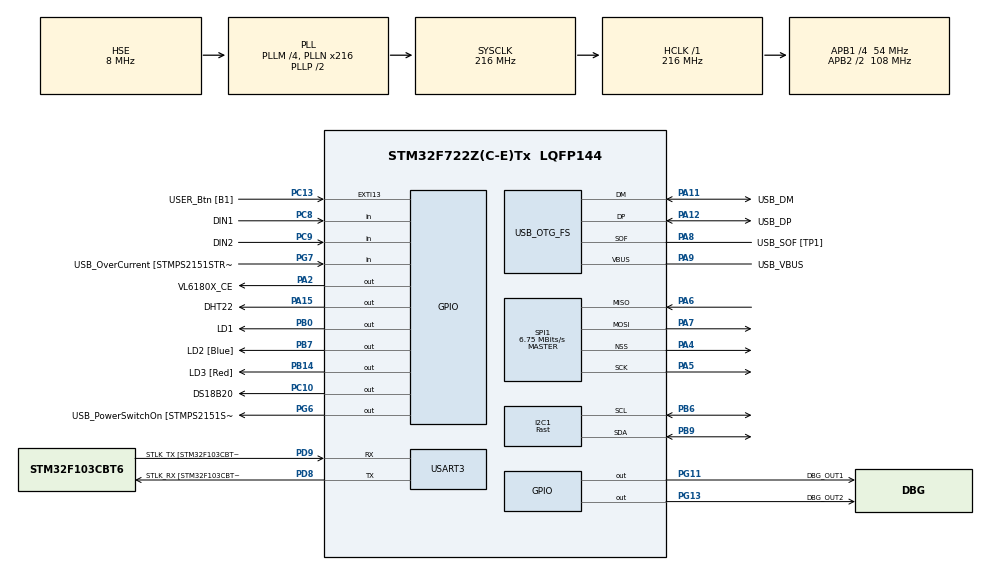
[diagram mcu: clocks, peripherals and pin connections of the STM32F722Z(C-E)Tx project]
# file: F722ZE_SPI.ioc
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I2C1.I2C_Speed_Mode=I2C_Fast
I2C1.Timing=0x6000030D
Mcu.Family=STM32F7
Mcu.Name=STM32F722Z(C-E)Tx
Mcu.Package=LQFP144
NVIC.PriorityGroup=NVIC_PRIORITYGROUP_4
NVIC.USART3_IRQn=true\:0\:0\:false\:false\:true\:true\:true
PA10.GPIO_Label=USB_ID
PA10.Signal=USB_OTG_FS_ID
PA11.GPIO_Label=USB_DM
PA11.Mode=Device_Only
PA11.Signal=USB_OTG_FS_DM
PA12.GPIO_Label=USB_DP
PA12.Mode=Device_Only
PA12.Signal=USB_OTG_FS_DP
PA13.GPIO_Label=TMS
PA13.Mode=Trace_Asynchronous_SW
PA13.Signal=SYS_JTMS-SWDIO
PA14.GPIO_Label=TCK
PA14.Mode=Trace_Asynchronous_SW
PA14.Signal=SYS_JTCK-SWCLK
PA15.GPIO_Label=DHT22
PA15.GPIO_ModeDefaultOutputPP=GPIO_MODE_OUTPUT_OD
PA15.GPIO_PuPd=GPIO_PULLUP
PA15.GPIO_Speed=GPIO_SPEED_FREQ_VERY_HIGH
PA15.Signal=GPIO_Output
PA2.GPIO_Label=VL6180X_CE
PA2.Signal=GPIO_Output
PA4.Mode=NSS_Signal_Hard_Output
PA4.Signal=SPI1_NSS
PA5.Mode=Full_Duplex_Master
PA5.Signal=SPI1_SCK
PA6.Mode=Full_Duplex_Master
PA6.Signal=SPI1_MISO
PA7.Mode=Full_Duplex_Master
PA7.Signal=SPI1_MOSI
PA8.GPIO_Label=USB_SOF [TP1]
PA8.Mode=Activate_SOF_FS
PA8.Signal=USB_OTG_FS_SOF
PA9.GPIO_Label=USB_VBUS
PA9.Mode=Activate_VBUS
PA9.Signal=USB_OTG_FS_VBUS
PB0.GPIO_Label=LD1
PB0.Signal=GPIO_Output
PB14.GPIO_Label=LD3 [Red]
PB14.Signal=GPIO_Output
PB3.GPIO_Label=SWO
PB3.Mode=Trace_Asynchronous_SW
PB3.Signal=SYS_JTDO-SWO
PB6.Mode=I2C
PB6.Signal=I2C1_SCL
PB7.GPIO_Label=LD2 [Blue]
PB7.Signal=GPIO_Output
PB9.Mode=I2C
PB9.Signal=I2C1_SDA
PC10.GPIO_Label=DS18B20
PC10.GPIO_PuPd=GPIO_PULLUP
PC10.GPIO_Speed=GPIO_SPEED_FREQ_VERY_HIGH
PC10.PinState=GPIO_PIN_SET
PC10.Signal=GPIO_Output
PC13.GPIO_Label=USER_Btn [B1]
PC13.Signal=GPXTI13
PC14-OSC32_IN.Mode=LSE-External-Oscillator
PC14-OSC32_IN.Signal=RCC_OSC32_IN
PC15-OSC32_OUT.Mode=LSE-External-Oscillator
PC15-OSC32_OUT.Signal=RCC_OSC32_OUT
PC8.GPIO_Label=DIN1
PC8.Signal=GPIO_Input
PC9.GPIO_Label=DIN2
PC9.Signal=GPIO_Input
PD8.GPIO_Label=STLK_RX [STM32F103CBT6_PA3]
PD8.Mode=Asynchronous
PD8.Signal=USART3_TX
PD9.GPIO_Label=STLK_TX [STM32F103CBT6_PA2]
PD9.Mode=Asynchronous
PD9.Signal=USART3_RX
PG11.GPIO_Label=DBG_OUT1
PG11.Signal=GPIO_Output
PG13.GPIO_Label=DBG_OUT2
PG13.Signal=GPIO_Output
PG6.GPIO_Label=USB_PowerSwitchOn [STMPS2151STR_EN]
PG6.Signal=GPIO_Output
PG7.GPIO_Label=USB_OverCurrent [STMPS2151STR_FAULT]
PG7.Signal=GPIO_Input
PH0-OSC_IN.GPIO_Label=MCO
PH0-OSC_IN.Mode=HSE-External-Clock-Source
PH0-OSC_IN.Signal=RCC_OSC_IN
PH1-OSC_OUT.Mode=HSE-External-Clock-Source
PH1-OSC_OUT.Signal=RCC_OSC_OUT
ProjectManager.HeapSize=0x200
ProjectManager.StackSize=0x400
ProjectManager.TargetToolchain=STM32CubeIDE
RCC.48MHZClocksFreq_Value=24000000
RCC.AHBFreq_Value=216000000
RCC.APB1CLKDivider=RCC_HCLK_DIV4
RCC.APB1Freq_Value=54000000
RCC.APB1TimFreq_Value=108000000
RCC.APB2CLKDivider=RCC_HCLK_DIV2
RCC.APB2Freq_Value=108000000
RCC.APB2TimFreq_Value=216000000
RCC.CortexFreq_Value=216000000
RCC.HCLKFreq_Value=216000000
RCC.HSE_VALUE=8000000
RCC.HSI_VALUE=16000000
RCC.PLLM=4
RCC.PLLMUL=RCC_PLL_MUL9
RCC.PLLN=216
RCC.PLLQ=9
RCC.PRESCALERUSB=RCC_USBCLKSOURCE_PLL_DIV1_5
RCC.SYSCLKFreq_VALUE=216000000
RCC.SYSCLKSource=RCC_SYSCLKSOURCE_PLLCLK
RCC.SYSCLKSourceVirtual=RCC_SYSCLKSOURCE_PLLCLK
RCC.USBFreq_Value=48000000
RCC.VCOOutputFreq_Value=432000000
SPI1.BaudRatePrescaler=SPI_BAUDRATEPRESCALER_16
SPI1.CLKPhase=SPI_PHASE_2EDGE
SPI1.CLKPolarity=SPI_POLARITY_HIGH
SPI1.CRCCalculation=SPI_CRCCALCULATION_DISABLE
SPI1.CalculateBaudRate=6.75 MBits/s
SPI1.DataSize=SPI_DATASIZE_8BIT
SPI1.Direction=SPI_DIRECTION_2LINES
SPI1.Mode=SPI_MODE_MASTER
SPI1.VirtualNSS=VM_NSSHARD
SPI1.VirtualType=VM_MASTER
TIM2.AutoReloadPreload=TIM_AUTORELOAD_PRELOAD_ENABLE
TIM2.Period=4294967294
USART3.VirtualMode-Asynchronous=VM_ASYNC
USB_OTG_FS.VirtualMode=Device_Only
VP_TIM2_VS_ClockSourceINT.Mode=Internal
board=NUCLEO-F722ZE

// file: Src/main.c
/* USER CODE BEGIN Header */
/**
  ******************************************************************************
  * @file           : main.c
  * @brief          : Main program body
  ******************************************************************************
  * @attention
  *
  * <h2><center>&copy; Copyright (c) 2021 STMicroelectronics.
  * All rights reserved.</center></h2>
  *
  * This software component is licensed by ST under BSD 3-Clause license,
  * the "License"; You may not use this file except in compliance with the
  * License. You may obtain a copy of the License at:
  *                        opensource.org/licenses/BSD-3-Clause
  *
  ******************************************************************************
  */
/* USER CODE END Header */
#include "main.h"
#include "i2c.h"
#include "spi.h"
#include "tim.h"
#include "usart.h"
#include "usb_otg.h"
#include "gpio.h"

/* USER CODE BEGIN Includes */
#include <stdio.h>
#include "fw_app.h"
/* USER CODE END Includes */

/* USER CODE BEGIN PV */
static uint8_t      _temp = 0;
static uint8_t      _ch;
static fl_status_t  _ret;
/* USER CODE END PV */

void SystemClock_Config(void);

int main(void)
{
  /* USER CODE BEGIN 1 */
  fw_app_init();
  /* USER CODE END 1 */

  /* MCU Configuration--------------------------------------------------------*/

  /* Reset of all peripherals, Initializes the Flash interface and the Systick. */
  HAL_Init();

  /* Configure the system clock */
  SystemClock_Config();

  /* Initialize all configured peripherals */
  MX_GPIO_Init();
  MX_USART3_UART_Init();
  MX_USB_OTG_FS_PCD_Init();
  MX_TIM2_Init();
  MX_I2C1_Init();
  MX_SPI1_Init();
  /* USER CODE BEGIN 2 */
  fw_app_hw_init();

  printf("Init done.\r\n");
  /* USER CODE END 2 */

  /* Infinite loop */
  /* USER CODE BEGIN WHILE */
  while (1)
  {
    _temp = fl_q_count(&g_app.proto_mgr.q);
    if (_temp > 0)
    {
      for (int i = 0; i < _temp; i++)
      {
        fl_q_pop(&g_app.proto_mgr.q, &_ch);
        _ret = fl_txt_msg_parser_parse_command(&g_app.proto_mgr.parser_handle, _ch, NULL);
      }
    }
    /* USER CODE END WHILE */

  }
}

void SystemClock_Config(void)
{
  RCC_OscInitTypeDef RCC_OscInitStruct = {0};
  RCC_ClkInitTypeDef RCC_ClkInitStruct = {0};
  RCC_PeriphCLKInitTypeDef PeriphClkInitStruct = {0};

  /** Configure LSE Drive Capability
  */
  HAL_PWR_EnableBkUpAccess();
  /** Configure the main internal regulator output voltage
  */
  __HAL_RCC_PWR_CLK_ENABLE();
  __HAL_PWR_VOLTAGESCALING_CONFIG(PWR_REGULATOR_VOLTAGE_SCALE1);
  /** Initializes the RCC Oscillators according to the specified parameters
  * in the RCC_OscInitTypeDef structure.
  */
  RCC_OscInitStruct.OscillatorType = RCC_OSCILLATORTYPE_HSE;
  RCC_OscInitStruct.HSEState = RCC_HSE_BYPASS;
  RCC_OscInitStruct.PLL.PLLState = RCC_PLL_ON;
  RCC_OscInitStruct.PLL.PLLSource = RCC_PLLSOURCE_HSE;
  RCC_OscInitStruct.PLL.PLLM = 4;
  RCC_OscInitStruct.PLL.PLLN = 216;
  RCC_OscInitStruct.PLL.PLLP = RCC_PLLP_DIV2;
  RCC_OscInitStruct.PLL.PLLQ = 9;
  if (HAL_RCC_OscConfig(&RCC_OscInitStruct) != HAL_OK)
  {
    Error_Handler();
  }
  /** Activate the Over-Drive mode
  */
  if (HAL_PWREx_EnableOverDrive() != HAL_OK)
  {
    Error_Handler();
  }
  /** Initializes the CPU, AHB and APB buses clocks
  */
  RCC_ClkInitStruct.ClockType = RCC_CLOCKTYPE_HCLK|RCC_CLOCKTYPE_SYSCLK
                              |RCC_CLOCKTYPE_PCLK1|RCC_CLOCKTYPE_PCLK2;
  RCC_ClkInitStruct.SYSCLKSource = RCC_SYSCLKSOURCE_PLLCLK;
  RCC_ClkInitStruct.AHBCLKDivider = RCC_SYSCLK_DIV1;
  RCC_ClkInitStruct.APB1CLKDivider = RCC_HCLK_DIV4;
  RCC_ClkInitStruct.APB2CLKDivider = RCC_HCLK_DIV2;

  if (HAL_RCC_ClockConfig(&RCC_ClkInitStruct, FLASH_LATENCY_7) != HAL_OK)
  {
    Error_Handler();
  }
  PeriphClkInitStruct.PeriphClockSelection = RCC_PERIPHCLK_USART3|RCC_PERIPHCLK_I2C1
                              |RCC_PERIPHCLK_CLK48;
  PeriphClkInitStruct.Usart3ClockSelection = RCC_USART3CLKSOURCE_PCLK1;
  PeriphClkInitStruct.I2c1ClockSelection = RCC_I2C1CLKSOURCE_PCLK1;
  PeriphClkInitStruct.Clk48ClockSelection = RCC_CLK48SOURCE_PLL;
  if (HAL_RCCEx_PeriphCLKConfig(&PeriphClkInitStruct) != HAL_OK)
  {
    Error_Handler();
  }
}

/* USER CODE BEGIN 4 */
void HAL_UART_RxCpltCallback(UART_HandleTypeDef *huart)
{
  if (huart == g_app.proto_mgr.uart_handle)
  {
    fl_q_push(&g_app.proto_mgr.q, g_app.proto_mgr.rx_buf[0]);
    FW_APP_UART_RCV_IT(g_app.proto_mgr.uart_handle, g_app.proto_mgr.rx_buf, 1);
  }
}

// Using Printf Debugging, LIVE expressions and SWV Trace in CubeIDE || STM32 || ITM || SWV
// https://www.youtube.com/watch?v=sPzQ5CniWtw
int _write(int file, char *ptr, int len)
{
  int DataIdx;

  for (DataIdx = 0; DataIdx < len; DataIdx++)
  {
    ITM_SendChar((*ptr++));
  }
  return len;
}
/* USER CODE END 4 */

void Error_Handler(void)
{
  __disable_irq();
  while (1)
  {
  }
}

/************************ (C) COPYRIGHT STMicroelectronics *****END OF FILE****/
